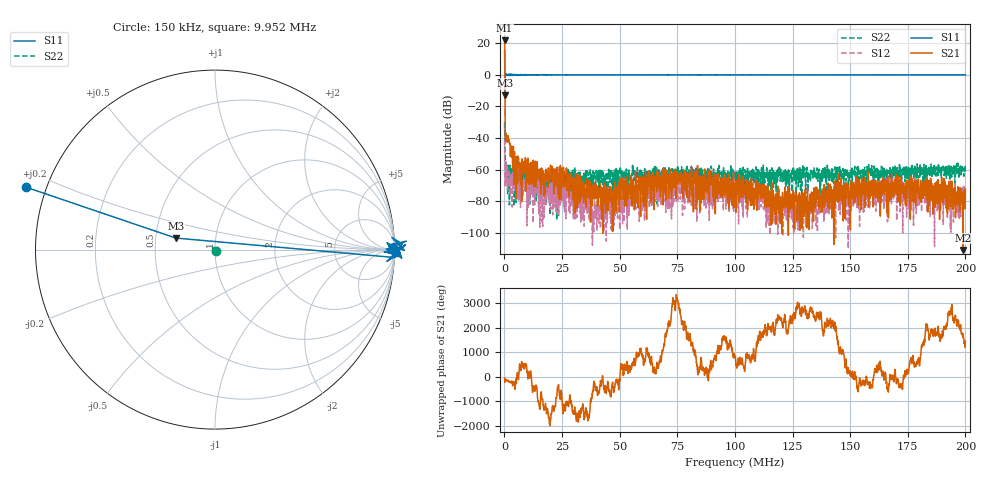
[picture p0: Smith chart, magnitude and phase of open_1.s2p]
! 26-Feb-26 2:11:48 PM
! E:\VNA_MEASUREMENTS\CAL_ENDS\OPEN_1.S2P
! CHANNEL.1
! TR.MEASUREMENT
! CORRECTED.DATA
# GHZ S RI R 50.0
! FREQ.GHZ  S11RE  S11IM  S21RE  S21IM  S12RE  S12IM  S22RE  S22IM
!; PortSelection: Port_12
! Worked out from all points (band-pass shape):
!   2000 points, 50 kHz to 200 MHz, reference 50 ohm
!   highest |S21| = 21.72 dB at 50 kHz (marker M1); lowest = -110.7 dB at 199 MHz (marker M2)
!   |S21| within 3 dB of the highest: start of sweep to 81.78 kHz
!   lowest |S11| = -12.8 dB at 250 kHz (marker M3), VSWR 1.59, Z = 31.8 + j4.32 ohm
!   |S11| at or under -10 dB: 229.4 kHz to 272.1 kHz (42.75 kHz wide, 17.1 % of centre)
!   |S22| runs from -91.8 to -30.0 dB; largest |S21 - S12| = 12
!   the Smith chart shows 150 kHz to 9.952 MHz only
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5e-05  0.2347 5.591  5.047 -11.09  -0.00837 -0.00208  0.0258 0.018
0.00025005  -0.2188 0.0644  -0.0944 -0.1194  0.000352 0.000184  -0.000696 -0.00443
0.001150275  1.021 -0.00297  -0.0103 -0.00354  -0.000516 -0.000806  0.000732 0.000902
0.003950975  0.9908 0.0253  -0.00127 0.00168  -0.000227 -0.000197  -0.000383 0.00027
0.006551626  0.9956 0.00245  -0.000904 0.000245  -9.97e-05 5.24e-05  -0.000549 -0.00016
0.008652151  1.022 -0.00728  0.00113 -0.00119  0.000244 0.000154  0.000638 0.000396
0.0112528  1.007 0.00277  -0.000524 -0.000529  -0.000142 -0.000347  0.000167 0.00023
0.0204551  1.015 0.00066  0.000581 4.66e-05  -9.18e-05 -5.1e-06  0.000537 0.00032
0.02745685  1.006 -0.0186  8.4e-05 0.000225  -0.000185 0.000206  0.000439 -5.57e-05
0.03345835  0.9969 -0.0112  -3.26e-05 0.000264  -1.26e-05 5.95e-05  0.00048 -6.12e-05
0.04606151  1.001 -0.0196  2.8e-05 -0.000178  6.83e-05 1.88e-05  0.00103 -4.89e-05
0.05156288  1.004 -0.019  7.49e-05 8.52e-05  -4.31e-05 -8.43e-05  0.000639 7.4e-06
0.06676668  1.002 -0.0275  0.000416 -0.000136  -8.49e-05 7.24e-05  0.00075 0.00016
0.07586896  0.9915 -0.0334  -6.87e-05 -0.000494  -3.15e-05 -0.000403  0.000853 0.000376
0.100075  1.007 -0.0389  0.000135 0.000109  -8.61e-05 -0.000163  0.000423 0.000434
0.1175794  0.9997 -0.0476  -9.13e-05 -0.000141  -3.41e-05 -4.43e-05  -2.03e-05 0.000798
0.1333833  1.001 -0.0492  -9.41e-05 -0.000135  -3.96e-05 -5.7e-06  0.000403 0.00064
0.155989  1.006 -0.059  -0.00032 -3.12e-05  1.4e-06 -4.8e-05  0.000659 0.000126
0.1666917  1.002 -0.0663  -1.97e-05 -0.000106  0.00015 8.13e-05  0.000928 0.000478
0.175894  0.9989 -0.0642  -0.000179 -0.000619  -0.000335 0.000218  0.00105 0.000387
0.1989998  1.001 -0.0767  -2.5e-06 1.5e-06  2.61e-05 -3.76e-05  0.000766 0.000576
0.2  0.9976 -0.0763  0.000246 1.17e-05  7.15e-05 0.000103  0.000337 0.000996
